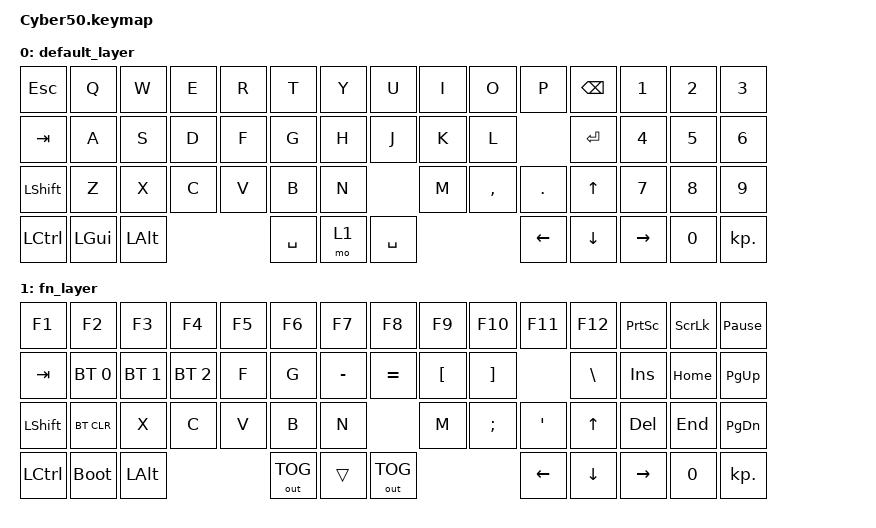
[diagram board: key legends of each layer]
/*
 * Copyright (c) 2020 The ZMK Contributors
 *
 * SPDX-License-Identifier: MIT
 */

#include <behaviors.dtsi>
#include <dt-bindings/zmk/keys.h>
#include <dt-bindings/zmk/rgb.h>
#include <dt-bindings/zmk/bt.h>
#include <dt-bindings/zmk/outputs.h>
#include <dt-bindings/zmk/ext_power.h>

/ {
	keymap0: keymap {
		compatible = "zmk,keymap";

		default_layer {
// -----------------------------------------------------------------------------------------------------
// | ESC |  Q  |  W  |  E  |  R  |  T  |  Y  |  U  |  I  |  O  |  P  | BKSP |     |  1!  |  2@  |  3#  |
// | TAB  |  A  |  S  |  D  |  F  |  G  |  H  |  J  |  K  |  L  |   ENTER   |     |  4$  |  5%  |  6^  |
// | SHIFT  |  Z  |  X  |  C  |  V |  B  |  N  |  M  | <,  |  >.  |    | UP |     |  7&  |  8*  |  9(  |
// |  CTL  |  WIN  |  ALT  |  |  SPACE  |  fn  |  SPACE  |    |  LEFT | DOWN | RIGHT |   |  0)  |  .   | 
// -----------------------------------------------------------------------------------------------------
			bindings = <
    &kp ESC  &kp Q  &kp W  &kp E  &kp R  &kp T  &kp Y  &kp U  &kp I  &kp O  &kp P   &kp BSPC         &kp N1  &kp N2   &kp N3
	&kp TAB  &kp A  &kp S  &kp D  &kp F  &kp G  &kp H  &kp J  &kp K  &kp L          &kp RET          &kp N4  &kp N5   &kp N6 
	&kp LSHFT   &kp Z  &kp X  &kp C  &kp V  &kp B  &kp N  &kp M  &kp COMMA &kp DOT  &kp UP           &kp N7  &kp N8   &kp N9
	&kp LCTRL &kp LGUI &kp LALT       &kp SPACE  &mo 1    &kp SPACE        &kp LEFT &kp DOWN &kp RIGHT       &kp N0   &kp KP_DOT
			>;
		};

		fn_layer {
// -----------------------------------------------------------------------------------------------------
// | F1  |  F2 |  F3 |  F4 |  F5 |  F6 |  F7 |  F8 |  F9 | F10  | F11 | F12 |     | PrtSc|ScrILk|PusBrk|
// | TAB  | BT0 | BT1 | BT2 |  F  |  G  |  _- | +=  | { [  |  }]   |   |\   |     |  INS | HOME | PgUP |
// | SHIFT  | BT_CLR |  X  |  C  |  V |  B  |  N  |  M  | :; | " ' |   | UP |     |  DEL | END  | PgDn |
// |  CTL  |  BOOT |  ALT  |  |trans USB/BT|fn|trans USB/BT|   | LEFT | DOWN | RIGHT |   |VOLUP | VOLDN| 
// -----------------------------------------------------------------------------------------------------
			bindings = <
    &kp F1    &kp F2        &kp F3        &kp F4        &kp F5  &kp F6  &kp F7  &kp F8  &kp F9  &kp F10 &kp F11  &kp F12        &kp PSCRN  &kp SLCK  &kp PAUSE_BREAK
	&kp TAB   &bt BT_SEL 0  &bt BT_SEL 1  &bt BT_SEL 2  &kp F  &kp G  &kp MINUS  &kp EQUAL  &kp LBKT  &kp RBKT   &kp BSLH       &kp INS  &kp HOME   &kp PG_UP 
	&kp LSHFT  &bt BT_CLR    &kp X        &kp C         &kp V  &kp B  &kp N  &kp M  &kp SEMI &kp APOS  &kp UP                   &kp DEL  &kp END   &kp PG_DN
	&kp LCTRL &bootloader &kp LALT      &out OUT_TOG  &trans    &out OUT_TOG                 &kp LEFT &kp DOWN &kp RIGHT       &kp N0   &kp KP_DOT
			>;
		};
	};
};
